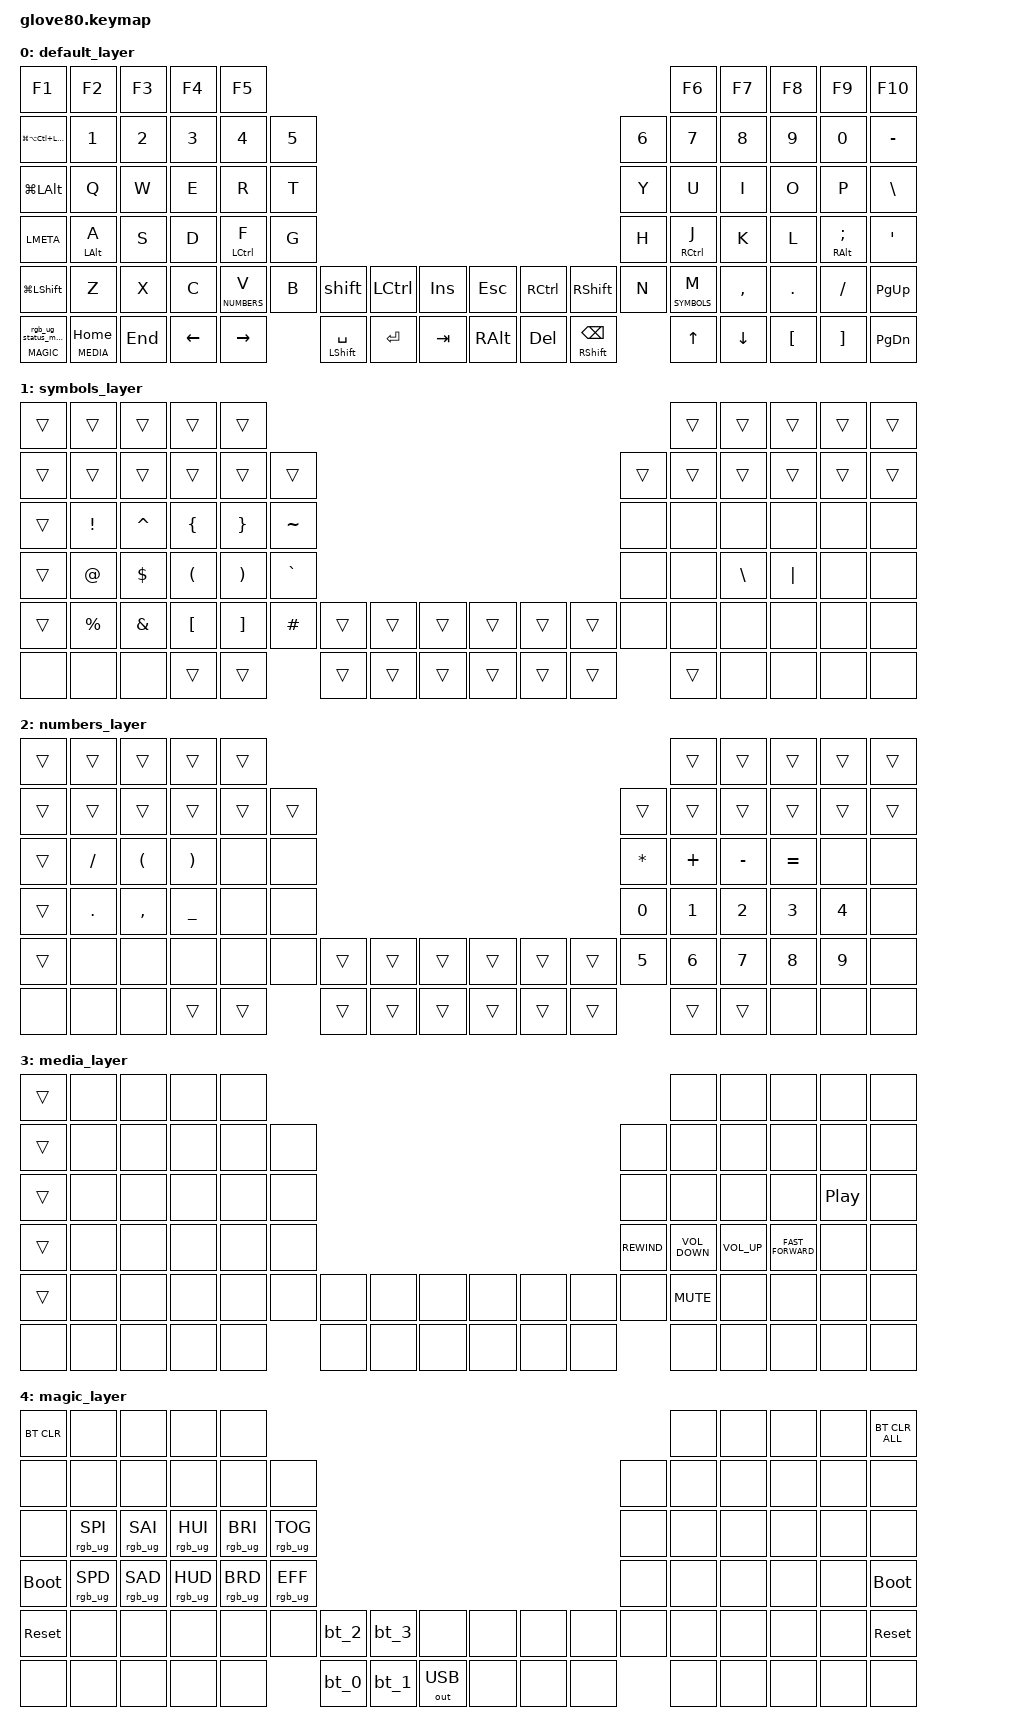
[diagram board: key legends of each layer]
/*
 * Copyright (c) 2020 The ZMK Contributors
 *
 * SPDX-License-Identifier: MIT
 */

#include <behaviors.dtsi>
#include <dt-bindings/zmk/keys.h>
#include <dt-bindings/zmk/bt.h>
#include <dt-bindings/zmk/ext_power.h>
#include <dt-bindings/zmk/outputs.h>
#include <dt-bindings/zmk/rgb.h>

// layers
#define DEFAULT 0
#define SYMBOLS 1
#define NUMBERS 2
#define MEDIA 3
#define MAGIC 4

// vars
#define COMBO_TERM 50
#define TAPPING_TERM 200
#define QUICK_TAP_TERM 400
#define LEFT_KEYS 0 1 2 3 4 5 11 12 13 14 15 22 23 24 25 26 27 34 35 36 37 38 39 46 47 48 49 50 51 52 53 54 64 65 66 67 68 69 70 71
#define RIGHT_KEYS 6 7 8 9 10 16 17 18 19 20 21 28 29 30 31 32 33 40 41 42 43 44 45 55 56 57 58 59 60 61 62 63 72 73 74 75 76 79 80

/ {
    behaviors {

        // Switch to a layer if a key is held
        lh: layer_hold {
            compatible = "zmk,behavior-hold-tap";
            #binding-cells = <2>;
            flavor = "balanced";
            tapping-term-ms = <TAPPING_TERM>;
            require-prior-idle-ms = <100>;
            bindings =  <&mo>, <&kp>;
            display-name = "Layer-Hold";
        };

        // Activate modifier if a key is held
        mhl: mod_hold_left {
            compatible = "zmk,behavior-hold-tap";
            #binding-cells = <2>;
            flavor = "tap-preferred";
            tapping-term-ms = <TAPPING_TERM>;
	        quick-tap-ms = <QUICK_TAP_TERM>;
	        hold-trigger-key-positions = <RIGHT_KEYS>;
            bindings =  <&kp>, <&kp>;
            display-name = "Mod-Hold-Left";
        };

	    // Activate modifier if a key is held
        mhr: mod_hold_right {
            compatible = "zmk,behavior-hold-tap";
            #binding-cells = <2>;
            flavor = "tap-preferred";
            tapping-term-ms = <TAPPING_TERM>;
	        quick-tap-ms = <QUICK_TAP_TERM>;
	        hold-trigger-key-positions = <LEFT_KEYS>;
            bindings =  <&kp>, <&kp>;
            display-name = "Mod-Hold-Right";
        };

        // Similar to mh but has quick-tap-mas
        shm: shift_mod {
            compatible = "zmk,behavior-hold-tap";
            #binding-cells = <2>;
            flavor = "balanced";
            tapping-term-ms = <TAPPING_TERM>;
            quick-tap-ms = <QUICK_TAP_TERM>;
            bindings =  <&kp>, <&kp>;
            display-name = "Mod-Hold-Quick-Tap";
        };

        shift: shift_caps {
            compatible = "zmk,behavior-tap-dance";
            #binding-cells = <0>;
            tapping-term-ms = <TAPPING_TERM>;
            bindings = <&kp LSHIFT>, <&kp CAPSLOCK>;
        };


        magic: magic_hold_tap {
            compatible = "zmk,behavior-hold-tap";
            label = "MAGIC_HOLD_TAP";
            #binding-cells = <2>;
            flavor = "tap-preferred";
            tapping-term-ms = <TAPPING_TERM>;
            bindings = <&mo>, <&rgb_ug_status_macro>;
        };
    };

    combos {

        compatible = "zmk,combos";

        combo_esc {
            timeout-ms = <COMBO_TERM>;
            key-positions = <37 38>;
            bindings = <&kp ESC>;
            layers   =  <DEFAULT>;
        };

        combo_tab {
            timeout-ms = <COMBO_TERM>;
            key-positions = <35 38>;
            bindings = <&kp TAB>;
            layers   =  <DEFAULT>;
        };

        combo_equal {
            timeout-ms = <COMBO_TERM>;
            key-positions = <41 42>;
            bindings = <&kp EQUAL>;
            layers   =  <DEFAULT>;
        };

        combo_plus {
            timeout-ms = <COMBO_TERM>;
            key-positions = <41 43>;
            bindings = <&kp PLUS>;
            layers   =  <DEFAULT>;
        };

        combo_minus {
            timeout-ms = <COMBO_TERM>;
            key-positions = <41 44>;
            bindings = <&kp MINUS>;
            layers   =  <DEFAULT>;
        };

        combo_mult {
            timeout-ms = <COMBO_TERM>;
            key-positions = <42 43>;
            bindings = <&kp ASTERISK>;
            layers   =  <DEFAULT>;
        };

        combo_div {
            timeout-ms = <COMBO_TERM>;
            key-positions = <42 44>;
            bindings = <&kp SLASH>;
            layers   =  <DEFAULT>;
        };
    };

    macros {
        rgb_ug_status_macro: rgb_ug_status_macro_0 {
            label = "RGB_UG_STATUS";
            compatible = "zmk,behavior-macro";
            #binding-cells = <0>;
            bindings
                = <&rgb_ug RGB_STATUS>;
        };

        bt_0: bt_profile_macro_0 {
            label = "BT_0";
            compatible = "zmk,behavior-macro";
            #binding-cells = <0>;
            bindings
                = <&out OUT_BLE>,
                  <&bt BT_SEL 0>;
        };

        bt_1: bt_profile_macro_1 {
            label = "BT_1";
            compatible = "zmk,behavior-macro";
            #binding-cells = <0>;
            bindings
                = <&out OUT_BLE>,
                  <&bt BT_SEL 1>;
        };

        bt_2: bt_profile_macro_2 {
            label = "BT_2";
            compatible = "zmk,behavior-macro";
            #binding-cells = <0>;
            bindings
                = <&out OUT_BLE>,
                  <&bt BT_SEL 2>;
        };

        bt_3: bt_profile_macro_3 {
            label = "BT_3";
            compatible = "zmk,behavior-macro";
            #binding-cells = <0>;
            bindings
                = <&out OUT_BLE>,
                  <&bt BT_SEL 3>;
        };
    };

    keymap {
        compatible = "zmk,keymap";

        default_layer {
            bindings = <
            &kp F1                      &kp F2          &kp F3      &kp F4      &kp F5                                                                                                                          &kp F6                &kp F7      &kp F8      &kp F9                 &kp F10
            &kp LG(LA(LC(LSHIFT)))      &kp N1          &kp N2      &kp N3      &kp N4              &kp N5                                                                                              &kp N6  &kp N7                &kp N8      &kp N9      &kp N0                 &kp MINUS
            &kp LG(LALT)                &kp Q           &kp W       &kp E       &kp R               &kp T                                                                                               &kp Y   &kp U                 &kp I       &kp O       &kp P                  &kp BSLH
            &kp LMETA                   &mhl LEFT_ALT A &kp S       &kp D       &mhl LEFT_CONTROL F &kp G                                                                                               &kp H   &mhr RIGHT_CONTROL J  &kp K       &kp L       &mhr RIGHT_ALT SEMI    &kp SQT
            &kp LG(LSHIFT)              &kp Z           &kp X       &kp C       &lh NUMBERS V       &kp B      &shift              &kp LCTRL   &kp INSERT   &kp ESCAPE  &kp RCTRL   &kp RSHFT           &kp N   &lh SYMBOLS M         &kp COMMA   &kp DOT     &kp FSLH               &kp PG_UP
            &magic MAGIC 0              &lh MEDIA HOME  &kp END     &kp LEFT    &kp RIGHT                      &shm LSHIFT SPACE   &kp RET     &kp TAB      &kp RALT    &kp DEL     &shm RSHFT BSPC             &kp UP                &kp DOWN    &kp LBKT    &kp RBKT               &kp PG_DN
            >;
        };

        symbols_layer {
            bindings = <
            &trans            &trans              &trans          &trans                    &trans                                                                                                                   &trans  &trans         &trans      &trans  &trans
            &trans            &trans              &trans          &trans                    &trans                    &trans                                                                                &trans   &trans  &trans         &trans      &trans  &trans
            &trans            &kp EXCLAMATION     &kp CARET       &kp LEFT_BRACE            &kp RIGHT_BRACE           &kp TILDE                                                                             &none    &none   &none          &none       &none   &none
            &trans            &kp AT_SIGN         &kp DOLLAR      &kp LEFT_PARENTHESIS      &kp RIGHT_PARENTHESIS     &kp GRAVE                                                                             &none    &none   &kp BACKSLASH  &kp PIPE    &none   &none
            &trans            &kp PERCENT         &kp AMPERSAND   &kp LEFT_BRACKET          &kp RIGHT_BRACKET         &kp HASH       &trans      &trans      &trans      &trans      &trans     &trans      &none    &none   &none          &none       &none   &none
            &none             &none               &none           &trans                    &trans                                   &trans      &trans      &trans      &trans      &trans     &trans               &trans  &none          &none       &none   &none
            >;
        };

        numbers_layer {
            bindings = <
            &trans            &trans              &trans                    &trans                  &trans                                                                                                              &trans     &trans     &trans      &trans   &trans
            &trans            &trans              &trans                    &trans                  &trans          &trans                                                                            &trans            &trans     &trans     &trans      &trans   &trans
            &trans            &kp  SLASH          &kp LEFT_PARENTHESIS      &kp RIGHT_PARENTHESIS   &none           &none                                                                             &kp ASTERISK      &kp PLUS   &kp MINUS  &kp EQUAL   &none    &none
            &trans            &kp PERIOD          &kp COMMA                 &kp UNDERSCORE          &none           &none                                                                             &kp N0            &kp N1     &kp N2     &kp N3      &kp N4   &none
            &trans            &none               &none                     &none                   &none           &none       &trans      &trans      &trans      &trans      &trans      &trans    &kp N5            &kp N6     &kp N7     &kp N8      &kp N9   &none
            &none             &none               &none                     &trans                  &trans                      &trans      &trans      &trans      &trans      &trans      &trans                      &trans     &trans     &none       &none    &none
            >;
        };

        media_layer {
            bindings = <
            &trans            &none               &none                     &none                   &none                                                                                                                   &none                &none             &none                 &none              &none   
            &trans            &none               &none                     &none                   &none           &none                                                                             &none                 &none                &none             &none                 &none              &none
            &trans            &none               &none                     &none                   &none           &none                                                                             &none                 &none                &none             &none                 &kp C_PLAY_PAUSE   &none
            &trans            &none               &none                     &none                   &none           &none                                                                             &kp C_REWIND          &kp C_VOLUME_DOWN    &kp C_VOLUME_UP   &kp C_FAST_FORWARD    &none              &none
            &trans            &none               &none                     &none                   &none           &none       &none      &none      &none      &none      &none       &none         &none                 &kp C_MUTE           &none             &none                 &none              &none
            &none             &none               &none                     &none                   &none                       &none      &none      &none      &none      &none       &none                               &none                &none             &none                 &none              &none
            >;
        };

        magic_layer {
            bindings = <
            &bt BT_CLR        &none               &none           &none           &none                                                                                                           &none      &none      &none      &none      &bt BT_CLR_ALL
            &none             &none               &none           &none           &none           &none                                                                                &none      &none      &none      &none      &none      &none
            &none             &rgb_ug RGB_SPI     &rgb_ug RGB_SAI &rgb_ug RGB_HUI &rgb_ug RGB_BRI &rgb_ug RGB_TOG                                                                      &none      &none      &none      &none      &none      &none
            &bootloader       &rgb_ug RGB_SPD     &rgb_ug RGB_SAD &rgb_ug RGB_HUD &rgb_ug RGB_BRD &rgb_ug RGB_EFF                                                                      &none      &none      &none      &none      &none      &bootloader
            &sys_reset        &none               &none           &none           &none           &none           &bt_2     &bt_3     &none            &none     &none     &none       &none      &none      &none      &none      &none      &sys_reset
            &none             &none               &none           &none           &none                           &bt_0     &bt_1     &out OUT_USB     &none     &none     &none                  &none      &none      &none      &none      &none
            >;
        };
    };
};
